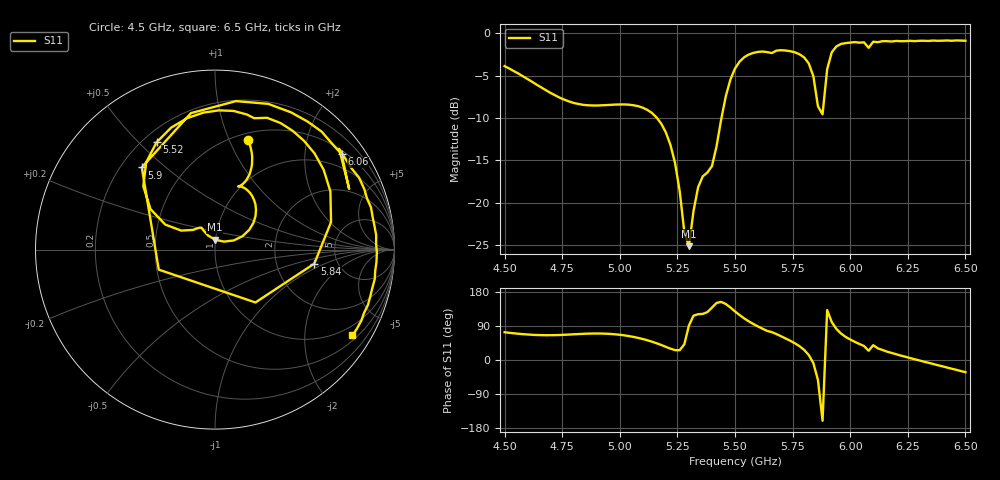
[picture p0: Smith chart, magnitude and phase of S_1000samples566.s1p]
! TOUCHSTONE file generated by CST MICROWAVE STUDIO
! Date and time: Fri Oct 28 15:15:41 2022
! Project name: L.cst
! Parameters = {Di=1.27; Epsilon_r=1.56; InnerDiameter=1.27; Length=2; Lf=10; Lg=60; OuterConductorThickness=0.2921; OuterDiameter=3.6; Wf=3; Wp=41.2; de=1.5; df=6.8; g=0.8; gx=1.84637; gy=3.26776; h=2.34; hf=1.524; px=14.5735; py=11.5212; w=9.7; wx=12.7271; wy=8.25346}
! Header version: 2018
! Port assignment regex: !\s*Touchstone port\s*([0-9]+)\s*=\s*(CST MWS port|CST DS port)\s*([0-9]+|Zmin|Zmax)\s*\(\"(.*)\"\)(\s*mode\s*([0-9]+))?.*
! Touchstone port assignment:
! Touchstone port 1 = CST MWS port 1 ("")
# GHz S DB R 50
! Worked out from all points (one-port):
!   101 points, 4.5 GHz to 6.5 GHz, reference 50 ohm
!   lowest |S11| = -25.1 dB at 5.3 GHz (marker M1), VSWR 1.12, Z = 49.6 + j5.53 ohm
!   |S11| at or under -10 dB: 5.161 GHz to 5.441 GHz (279.8 MHz wide, 5.28 % of centre)
!   S11 on the Smith chart (normalised r, x): 4.5 GHz: 0.57, +1.18; 5.52 GHz: 0.25, +0.57; 5.84 GHz: 3.34, -0.76; 5.9 GHz: 0.28, +0.42; 6.06 GHz: 0.60, +2.88; 6.5 GHz: 0.65, -3.37
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4.5  -3.88 73.3
4.76  -7.84 66.6
5  -8.40 66.5
5.18  -10.67 39.6
5.22  -13.19 29.9
5.26  -18.63 26.0
5.28  -23.43 41.3
5.3  -25.11 91.0
5.34  -18.15 120.8
5.4  -15.67 138.3
5.44  -10.16 153.3
5.5  -4.16 128.3
5.52  -3.34 118.6
5.62  -2.16 82.4
5.76  -2.25 44.1
5.8  -2.85 26.7
5.84  -5.06 -8.1
5.86  -8.62 -52.6
5.88  -9.56 -160.4
5.9  -4.25 131.7
5.92  -2.25 100.0
5.94  -1.56 82.0
6  -1.11 54.2
6.06  -1.08 36.9
6.08  -1.72 24.4
6.1  -1.00 39.0
6.26  -0.90 5.1
6.5  -0.89 -32.0
